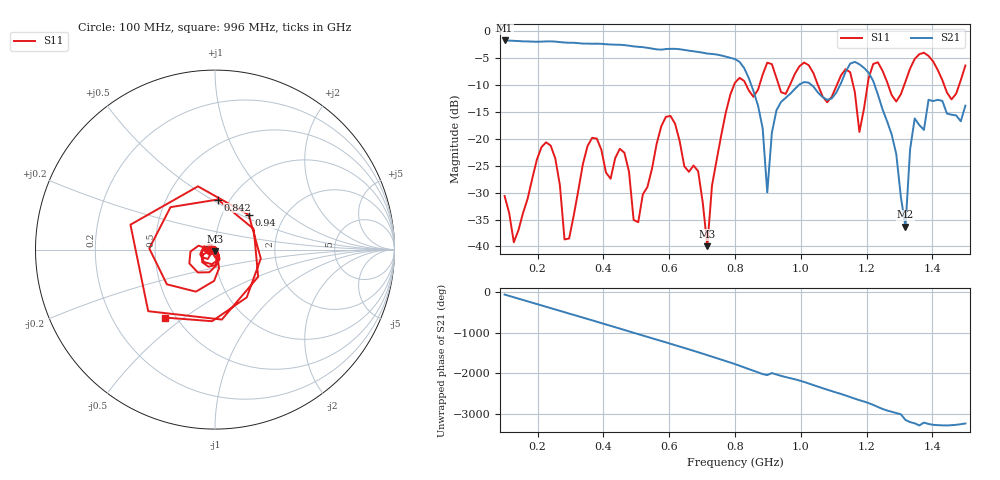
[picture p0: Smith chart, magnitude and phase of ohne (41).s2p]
! NanoVNA-App
! Date: 2025-09-26 09:55:43
! Start: 100MHz Stop: 1,5GHz Points: 101
! S-Parameter data: F S11 S21 S12 S22
# Hz S RI R 50
!  Frequency  S11_Real  S11_Imag  S21_Real  S21_Imag  S12_Real  S12_Imag  S22_Real  S22_Imag
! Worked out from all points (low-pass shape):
!   101 points, 100 MHz to 1.5 GHz, reference 50 ohm
!   highest |S21| = -1.79 dB at 100 MHz (marker M1); lowest = -36.3 dB at 1.318 GHz (marker M2)
!   |S21| within 3 dB of the highest: start of sweep to 772 MHz
!   lowest |S11| = -39.9 dB at 716 MHz (marker M3), VSWR 1.02, Z = 49.9 - j0.998 ohm
!   |S11| at or under -10 dB: start of sweep to 797.5 MHz; 833.5 MHz to 874.7 MHz (41.15 MHz wide, 4.82 % of centre); 1.052 GHz to 1.11 GHz (58.33 MHz wide, 5.4 % of centre)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
!   S12 and S22 are empty: the file has one direction only
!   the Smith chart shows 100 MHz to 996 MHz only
!   S11 on the Smith chart (normalised r, x): 100 MHz: 0.94, -0.01; 842 MHz: 0.88, +0.53; 940 MHz: 1.33, +0.56; 996 MHz: 0.44, -0.43
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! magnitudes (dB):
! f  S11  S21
! 100 MHz  -30.6  -1.8
! 128 MHz  -39.2  -1.9
! 226 MHz  -20.7  -2.0
! 296 MHz  -38.5  -2.2
! 338 MHz  -24.7  -2.4
! 464 MHz  -22.6  -2.7
! 506 MHz  -35.5  -3.0
! 576 MHz  -17.7  -3.5
! 688 MHz  -26.0  -3.9
! 716 MHz  -39.9  -4.2
! 800 MHz  -9.6  -5.2
! 842 MHz  -11.1  -8.8
! 898 MHz  -5.9  -30.0
! 940 MHz  -11.4  -13.2
! 996 MHz  -6.6  -9.9
! 1.038 GHz  -7.8  -10.3
! 1.178 GHz  -18.8  -6.2
! 1.22 GHz  -6.2  -9.3
! 1.276 GHz  -11.9  -19.2
! 1.318 GHz  -9.4  -36.3
! 1.346 GHz  -5.2  -16.3
! 1.5 GHz  -6.4  -13.9
